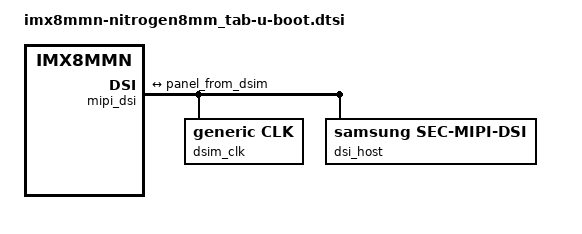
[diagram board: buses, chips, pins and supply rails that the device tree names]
// SPDX-License-Identifier: (GPL-2.0+ OR MIT)
/*
 * Copyright 2022 Boundary Devices
 */
&backlight_mipi {
	default-brightness-level = <2>;
};

&lcdif {
	display = <&fb_mipi>;
};

&mipi_dsi {
	fb_mipi: panel@0 {
		bits-per-pixel = <24>;
		bus-width = <24>;
		clocks = <&dsim_clk 0>,
				<&clk IMX8MMN(CLK_LCDIF_PIXEL)>;

		port {
			panel_from_dsim: endpoint {
				remote-endpoint = <&dsim_to_panel>;
			};
		};
	};

	dsim_clk: dsim-clk {
		#clock-cells = <1>;
		#size-cells = <0>;
		compatible = "generic,clk";
		clocks = <&clk IMX8MMN(CLK_DSI_PHY_REF)>;
		clock-names = "parent";
		clock-output-names = "dsim-clk";
		status = "okay";
	};

	dsi_host: dsi-host {
		compatible = "samsung,sec-mipi-dsi";
		clocks = <&dsim_clk 0>,
			 <&clk IMX8MMN(CLK_DSI_CORE)>,
			 <&clk IMX8MMN(CLK_DSI_PHY_REF)>,
			 <&clk IMX8MMN(CLK_LCDIF_PIXEL)>;
		clock-names = "dsim-clk", "cfg", "pll-ref", "pixel_clock";
		status = "okay";
	};

	port@1 {
		dsim_to_panel: endpoint {
			remote-endpoint = <&panel_from_dsim>;
		};
	};
};

&uart3 { /* J15 */
	status = "disabled";
};

&uart4 {
	status = "disabled";
};

&usdhc1 {
	cap-mmc-highspeed;
	mmc-ddr-1_8v;
	mmc-hs200-1_8v;
	reset-gpios = GP_EMMC_RESET;
};

&usdhc2 {
	cap-sd-highspeed;
	sd-uhs-ddr50;
	sd-uhs-sdr104;
	sd-uhs-sdr12;
	sd-uhs-sdr25;
	vqmmc-supply = <&reg_usdhc2_vqmmc>;
};

&usdhc3 {
	status = "disabled";
};
